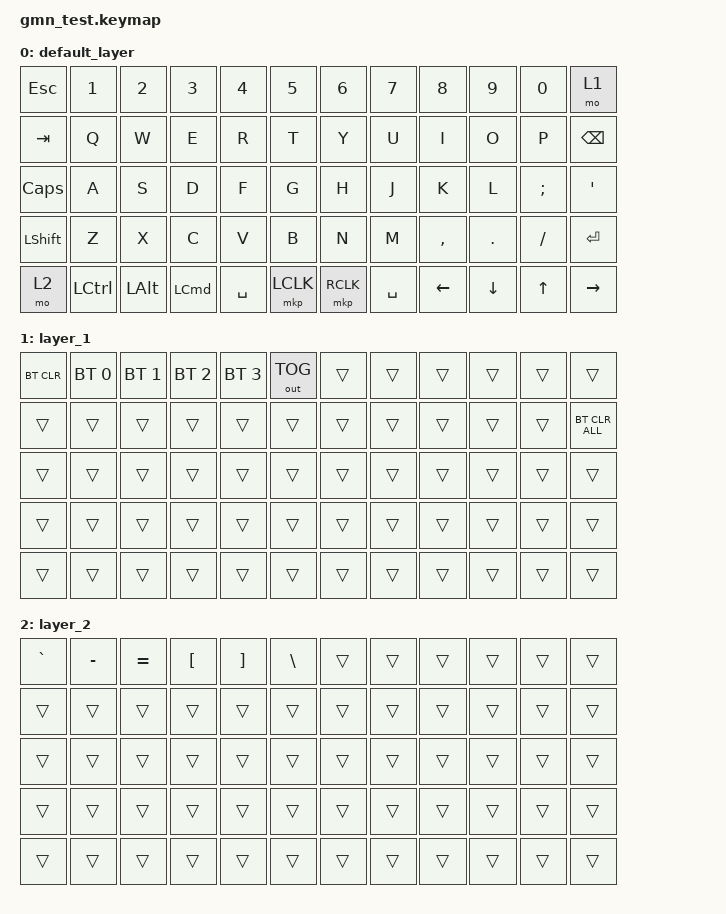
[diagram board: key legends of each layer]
// This file was generated from a template. Edit it to match your keyboard.
// See https://zmk.dev/docs/development/hardware-integration/new-shield for more instructions.

#include <behaviors.dtsi>
#include <dt-bindings/zmk/bt.h>
#include <dt-bindings/zmk/keys.h>
#include <dt-bindings/zmk/outputs.h>
#include <dt-bindings/zmk/pointing.h>

/ {
    // Define a default keymap here.
    // See https://zmk.dev/docs/development/hardware-integration/new-shield#default-keymap.

    keymap {
        compatible = "zmk,keymap";

        default_layer {
            bindings = <
&kp ESC         &kp NUMBER_1      &kp NUMBER_2  &kp NUMBER_3      &kp NUMBER_4  &kp NUMBER_5  &kp NUMBER_6  &kp NUMBER_7  &kp NUMBER_8    &kp NUMBER_9    &kp NUMBER_0   &mo 1
&kp TAB         &kp Q             &kp W         &kp E             &kp R         &kp T         &kp Y         &kp U         &kp I           &kp O           &kp P          &kp BACKSPACE
&kp CLCK        &kp A             &kp S         &kp D             &kp F         &kp G         &kp H         &kp J         &kp K           &kp L           &kp SEMICOLON  &kp SQT
&kp LEFT_SHIFT  &kp Z             &kp X         &kp C             &kp V         &kp B         &kp N         &kp M         &kp COMMA       &kp DOT         &kp SLASH      &kp ENTER
&mo 2           &kp LEFT_CONTROL  &kp LALT      &kp LEFT_COMMAND  &kp SPACE     &mkp LCLK     &mkp RCLK     &kp SPACE     &kp LEFT_ARROW  &kp DOWN_ARROW  &kp UP_ARROW   &kp RIGHT_ARROW
            >;
        };

        layer_1 {
            bindings = <
&bt BT_CLR  &bt BT_SEL 0  &bt BT_SEL 1  &bt BT_SEL 2  &bt BT_SEL 3  &out OUT_TOG  &trans  &trans  &trans  &trans  &trans  &trans
&trans      &trans        &trans        &trans        &trans        &trans        &trans  &trans  &trans  &trans  &trans  &bt BT_CLR_ALL
&trans      &trans        &trans        &trans        &trans        &trans        &trans  &trans  &trans  &trans  &trans  &trans
&trans      &trans        &trans        &trans        &trans        &trans        &trans  &trans  &trans  &trans  &trans  &trans
&trans      &trans        &trans        &trans        &trans        &trans        &trans  &trans  &trans  &trans  &trans  &trans
            >;
        };

        layer_2 {
            bindings = <
&kp GRAVE  &kp MINUS  &kp EQUAL  &kp LBKT  &kp RBKT  &kp BSLH  &trans  &trans  &trans  &trans  &trans  &trans
&trans     &trans     &trans     &trans    &trans    &trans    &trans  &trans  &trans  &trans  &trans  &trans
&trans     &trans     &trans     &trans    &trans    &trans    &trans  &trans  &trans  &trans  &trans  &trans
&trans     &trans     &trans     &trans    &trans    &trans    &trans  &trans  &trans  &trans  &trans  &trans
&trans     &trans     &trans     &trans    &trans    &trans    &trans  &trans  &trans  &trans  &trans  &trans
            >;
        };
    };

    conditional_layers { compatible = "zmk,conditional-layers"; };
};
